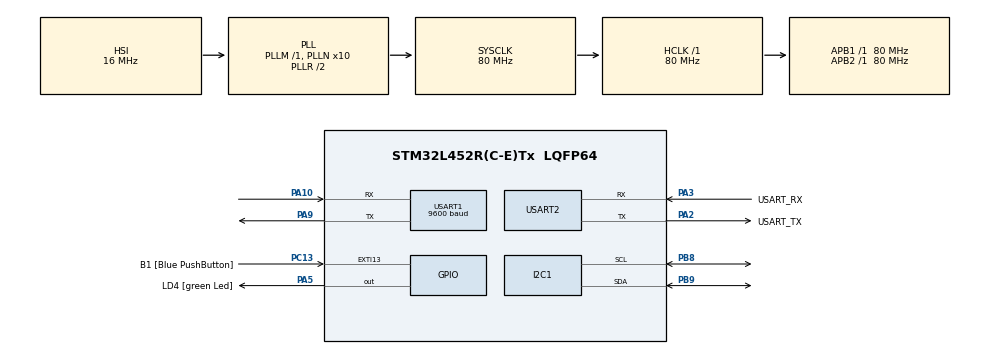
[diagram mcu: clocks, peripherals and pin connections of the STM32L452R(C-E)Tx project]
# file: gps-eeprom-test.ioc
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I2C1.Timing=0x10909CEC
Mcu.Family=STM32L4
Mcu.Name=STM32L452R(C-E)Tx
Mcu.Package=LQFP64
NVIC.PriorityGroup=NVIC_PRIORITYGROUP_4
NVIC.USART1_IRQn=true\:0\:0\:false\:false\:true\:true\:true\:true
PA10.Mode=Asynchronous
PA10.Signal=USART1_RX
PA13\ (JTMS/SWDIO).GPIO_Label=TMS
PA13\ (JTMS/SWDIO).Mode=Serial_Wire
PA13\ (JTMS/SWDIO).Signal=SYS_JTMS-SWDIO
PA14\ (JTCK/SWCLK).GPIO_Label=TCK
PA14\ (JTCK/SWCLK).Mode=Serial_Wire
PA14\ (JTCK/SWCLK).Signal=SYS_JTCK-SWCLK
PA2.GPIO_Label=USART_TX
PA2.GPIO_Mode=GPIO_MODE_AF_PP
PA2.GPIO_PuPd=GPIO_NOPULL
PA2.GPIO_Speed=GPIO_SPEED_FREQ_VERY_HIGH
PA2.Mode=Asynchronous
PA2.Signal=USART2_TX
PA3.GPIO_Label=USART_RX
PA3.GPIO_Mode=GPIO_MODE_AF_PP
PA3.GPIO_PuPd=GPIO_NOPULL
PA3.GPIO_Speed=GPIO_SPEED_FREQ_VERY_HIGH
PA3.Mode=Asynchronous
PA3.Signal=USART2_RX
PA5.GPIO_Label=LD4 [green Led]
PA5.GPIO_ModeDefaultOutputPP=GPIO_MODE_OUTPUT_PP
PA5.GPIO_PuPd=GPIO_NOPULL
PA5.GPIO_Speed=GPIO_SPEED_FREQ_LOW
PA5.Signal=GPIO_Output
PA9.Mode=Asynchronous
PA9.Signal=USART1_TX
PB3\ (JTDO/TRACESWO).GPIO_Label=SWO
PB3\ (JTDO/TRACESWO).Signal=SYS_JTDO-SWO
PB8.Mode=I2C
PB8.Signal=I2C1_SCL
PB9.Mode=I2C
PB9.Signal=I2C1_SDA
PC13.GPIO_Label=B1 [Blue PushButton]
PC13.GPIO_ModeDefaultEXTI=GPIO_MODE_IT_FALLING
PC13.GPIO_PuPd=GPIO_NOPULL
PC13.Signal=GPXTI13
PC14-OSC32_IN\ (PC14).Mode=LSE-External-Oscillator
PC14-OSC32_IN\ (PC14).Signal=RCC_OSC32_IN
PC15-OSC32_OUT\ (PC15).Mode=LSE-External-Oscillator
PC15-OSC32_OUT\ (PC15).Signal=RCC_OSC32_OUT
PH0-OSC_IN\ (PH0).Signal=RCC_OSC_IN
PH1-OSC_OUT\ (PH1).Signal=RCC_OSC_OUT
ProjectManager.HeapSize=0x200
ProjectManager.StackSize=0x400
ProjectManager.TargetToolchain=STM32CubeIDE
RCC.ADCFreq_Value=64000000
RCC.AHBFreq_Value=80000000
RCC.APB1Freq_Value=80000000
RCC.APB1TimFreq_Value=80000000
RCC.APB2Freq_Value=80000000
RCC.APB2TimFreq_Value=80000000
RCC.CortexFreq_Value=80000000
RCC.HCLKFreq_Value=80000000
RCC.HSE_VALUE=8000000
RCC.HSI48_VALUE=48000000
RCC.HSI_VALUE=16000000
RCC.MSI_VALUE=4000000
RCC.PLLN=10
RCC.PLLSourceVirtual=RCC_PLLSOURCE_HSI
RCC.PREFETCH_ENABLE=1
RCC.SYSCLKFreq_VALUE=80000000
RCC.SYSCLKSource=RCC_SYSCLKSOURCE_PLLCLK
RCC.USBFreq_Value=64000000
RCC.VCOOutputFreq_Value=160000000
USART1.BaudRate=9600
USART1.VirtualMode-Asynchronous=VM_ASYNC
USART2.VirtualMode-Asynchronous=VM_ASYNC
board=NUCLEO-L452RE

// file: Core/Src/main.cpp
/* USER CODE BEGIN Header */
/**
  ******************************************************************************
  * @file           : main.c
  * @brief          : Main program body
  ******************************************************************************
  * @attention
  *
  * Copyright (c) 2023 STMicroelectronics.
  * All rights reserved.
  *
  * This software is licensed under terms that can be found in the LICENSE file
  * in the root directory of this software component.
  * If no LICENSE file comes with this software, it is provided AS-IS.
  *
  ******************************************************************************
  * Date: Jun 23, 2023
  * Celine Kwan
  * store GPS's lat/lng to EEPROM 0x00 and 0x04 locations
  * copied from gps-eeprom-test project
  * SUCCESSFUL
  */
/* USER CODE END Header */
#include "main.h"

/* USER CODE BEGIN Includes */
#include <stdio.h>
#include <string.h>

#include <gps/NMEA.h>
#include <gps/uartRingBuffer.h>

#include <RTClib/RTClib.h>
/* USER CODE END Includes */

I2C_HandleTypeDef hi2c1;

UART_HandleTypeDef huart1;
UART_HandleTypeDef huart2;

/* USER CODE BEGIN PV */

// EEPROM ******************
#define EEPROM_ADDR 0x50 << 1

// RTC ******************
#define RTC_ADDR 0x68<<1
#define DS3231_STATUSREG 0x0F ///< Status register
#define DS3231_TIME 0x00 ///< Time register

// Data Buffers *********************************
uint8_t data_rec4[4] = {0};
uint8_t data_rec8[8] = {0};
uint8_t buf_lat[4] = {0};  // floats are 4 bytes!
uint8_t buf_lng[4] = {0};

// BNO055 *********************************
#define BNO055_ADDRESS 0x28 << 1 // 0x29 (primary), 0x28 (alternative)

// Configuration Registers
// Note: switching time from op mode to any other op mode is 7ms
#define OPR_MODE 0x3D // Operating mode register
#define AMG_MODE 0x07 // Non-fusion mode
#define NDOF_MODE 0x0C // Fusion mode

// Calibration Status Register
#define CALIB_STAT 0x35
#define SYS_MASK 0xC0
#define GYR_MASK 0x30
#define ACC_MASK 0x0C
#define MAG_MASK 0x03

// Unit Selection Register
#define UNIT_SEL 0x3B
#define DATA_FORMAT_SETTING 0x01 // windows orientation, celsius,deg,dps,mg

// Accelerometer Data Registers
#define ACC_DATA_X_LSB 0x08
#define ACC_DATA_X_MSB 0x09
#define ACC_DATA_Y_LSB 0x0A
#define ACC_DATA_Y_MSB 0x0B
#define ACC_DATA_Z_LSB 0x0C
#define ACC_DATA_Z_MSB 0x0D

// Magnetometer Data Registers
#define MAG_DATA_X_LSB 0x0E
#define MAG_DATA_X_MSB 0x0F
#define MAG_DATA_Y_LSB 0x10
#define MAG_DATA_Y_MSB 0x11
#define MAG_DATA_Z_LSB 0x12
#define MAG_DATA_Z_MSB 0x13

// Gyroscope Data Registers
#define GYR_DATA_X_LSB 0x14
#define GYR_DATA_X_MSB 0x15
#define GYR_DATA_Y_LSB 0x16
#define GYR_DATA_Y_MSB 0x17
#define GYR_DATA_Z_LSB 0x18
#define GYR_DATA_Z_MSB 0x19

// Euler Data Registers
#define EUL_DATA_X_LSB 0x1A // Heading
#define EUL_DATA_X_MSB 0x1B
#define EUL_DATA_Y_LSB 0x1C // Roll
#define EUL_DATA_Y_MSB 0x1D
#define EUL_DATA_Z_LSB 0x1E // Pitch
#define EUL_DATA_Z_MSB 0x1F

/* USER CODE END PV */

void SystemClock_Config(void);
static void MX_GPIO_Init(void);
static void MX_USART2_UART_Init(void);
static void MX_I2C1_Init(void);
static void MX_USART1_UART_Init(void);
/* USER CODE BEGIN PFP */

// GPS *********************************
char GGA[100];
char RMC[100];
GPSSTRUCT gpsData;

// BNO *********************************
uint8_t data_rec_bno[6]; // store data from i2c read
int16_t x, y, z; // store data from accel registers
char disp_buf[60] = {0}; // store data to display to UART serial port
// calibration status: 3 [fully calibrated], 0 [not calibrated]
uint8_t sys_stat = 0; // system (all sensors)
uint8_t gyr_stat = 0;
uint8_t acc_stat = 0;
uint8_t mag_stat = 0;

// Function Declarations ==========================================

// EEPROM **********************************
void eeprom_write_byte (uint16_t addr, uint8_t value);
void eeprom_write_bytes (uint16_t addr, uint8_t *buf, uint8_t numberofbytes);
void eeprom_read_bytes (uint16_t addr, uint8_t numberofbytes);
void print_status (HAL_StatusTypeDef);

// RTC **********************************
void rtc_read_reg_bytes (uint8_t, uint8_t); // 1+ bytes
uint8_t rtc_read (uint8_t); // 1 byte
void rtc_write_reg (uint8_t, uint8_t); // 1 byte
bool lostPower(void);
uint8_t bin2bcd(uint8_t);

// BNO **********************************
void bno055_write_datum (uint8_t reg, uint8_t value);
void bno055_read_data (uint8_t reg, uint8_t numberofbytes);

// Function Definitions ==========================================

// EEPROM **********************************
// writes one byte
void eeprom_write_byte (uint16_t addr, uint8_t value) {
	uint8_t data[1] = {0};
	data[0] = value;
	HAL_StatusTypeDef status = HAL_I2C_Mem_Write(&hi2c1, EEPROM_ADDR, addr, I2C_MEMADD_SIZE_16BIT, data, 1, 10);
}

// writes several bytes
void eeprom_write_bytes (uint16_t addr, uint8_t *buf, uint8_t numberofbytes) {
	for (int i=0; i<numberofbytes; i++) {
		eeprom_write_byte(addr,buf[i]);
		addr++;
	}
}

// reads a number of bytes
void eeprom_read_bytes (uint16_t addr, uint8_t numberofbytes) {
	HAL_StatusTypeDef status = HAL_I2C_Mem_Read (&hi2c1, EEPROM_ADDR, addr, I2C_MEMADD_SIZE_16BIT, data_rec4, numberofbytes, 100);
}

// RTC **********************************
// read function - for several bytes
void rtc_read_reg_bytes (uint8_t reg, uint8_t numberofbytes) {
	HAL_StatusTypeDef status = HAL_I2C_Mem_Read (&hi2c1, RTC_ADDR, reg, 1, data_rec8, numberofbytes, 100);
}

// read into a buffer
void rtc_read_buf (uint8_t* buf, uint8_t size) {
	HAL_StatusTypeDef status = HAL_I2C_Mem_Read(&hi2c1, RTC_ADDR, buf[0], 1, buf, size, 100);// reg = buf[0]
}

// read function - for one byte
uint8_t rtc_read_reg (uint8_t reg) {
	HAL_StatusTypeDef status = HAL_I2C_Mem_Read (&hi2c1, RTC_ADDR, reg, 1, data_rec8, 1, 100);
	return data_rec8[0];
}

// write function - for one byte
void rtc_write_reg (uint8_t reg, uint8_t value) {
	uint8_t data[2];
	data[0] = reg;
	data[1] = value;
	HAL_StatusTypeDef status = HAL_I2C_Master_Transmit (&hi2c1, RTC_ADDR, data, 2, 10);
}

// write function - for 8 bytes
void rtc_write_reg_bytes (uint8_t* buf, uint8_t size) {
	uint8_t data[size] = {0};

	// copy buffer data into i2c data buffer
	for (int i=0; i<size; i++) {
		data[i] = buf[i];
	}

	HAL_StatusTypeDef status = HAL_I2C_Master_Transmit (&hi2c1, RTC_ADDR, data, size, 100);
}

bool lostPower(void) {
  return rtc_read_reg(DS3231_STATUSREG)>>7; // check bit 7 of status register
}

/*
	@brief  Convert a binary value to BCD format for the RTC registers
	@param val Binary value
	@return BCD value
*/
uint8_t bin2bcd(uint8_t val) { // TODO: check bin2bcd - whether it works or not
	return val + 6 * (val / 10);
}

/*!
  @brief  Convert the day of the week to a representation suitable for
		  storing in the DS3231: from 1 (Monday) to 7 (Sunday).
  @param  d Day of the week as represented by the library:
		  from 0 (Sunday) to 6 (Saturday).
  @return the converted value
*/
static uint8_t dowToDS3231(uint8_t d) {
	return d == 0 ? 7 : d ;
}

/*
    @brief  Set the date and flip the Oscillator Stop Flag
    @param dt DateTime object containing the date/time to set
*/
void adjust(const DateTime &dt) { // TODO: create DateTime class
										// reference: https://github.com/adafruit/RTClib/blob/33fb0400c8241a5e604d0d9bd1c3a79b8a19cc4a/src/RTClib.cpp#LL202C1-L202C1
	uint8_t buffer[] = {DS3231_TIME, // register to write to (time register)
	                       bin2bcd(dt.second()), // write bin2bcd function
						   	   	   	   	   	   	   // reference: https://github.com/adafruit/RTClib/blob/33fb0400c8241a5e604d0d9bd1c3a79b8a19cc4a/src/RTClib.h#L340
	                       bin2bcd(dt.minute()),
	                       bin2bcd(dt.hour()),
	                       bin2bcd(dowToDS3231(dt.dayOfTheWeek())), // TODO: write dayOfTheWeek function inside DateTime class - https://github.com/adafruit/RTClib/blob/33fb0400c8241a5e604d0d9bd1c3a79b8a19cc4a/src/RTClib.cpp#L553
						   	   	   	   	   	   	   	   	   	   	   	   // TODO: dowToDS3231 function - https://github.com/adafruit/RTClib/blob/33fb0400c8241a5e604d0d9bd1c3a79b8a19cc4a/src/RTClib.h#L398
	                       bin2bcd(dt.day()),
	                       bin2bcd(dt.month()),
	                       bin2bcd(dt.year() - 2000U)};

	rtc_write_reg_bytes(buffer,sizeof(buffer)); //TODO: write rtc_write_reg_bytes function for several bytes
							// reference: https://github.com/adafruit/Adafruit_BusIO/blob/42e31a252f3cfd81aaa5668258d3dcb837524660/Adafruit_I2CDevice.cpp#L95
	uint8_t statreg = rtc_read_reg(DS3231_STATUSREG);
//	statreg &= ~0x80; // flip OSF bit
	statreg &= ~0x8; // flip OSF bit
	rtc_write_reg(DS3231_STATUSREG, statreg);
}

/*!
  @brief  Convert a binary coded decimal value to binary. RTC stores
time/date values as BCD.
  @param val BCD value
  @return Binary value
*/
static uint8_t bcd2bin(uint8_t val) { //TODO: check functionality
	return val - 6 * (val >> 4);
}

/*!
    @brief  Get the current date/time
    @return DateTime object with the current date/time
*/
DateTime now(void) {
  uint8_t buf1[1] = {0};
  uint8_t buf2[7] = {0};
  buf1[0] = 0; // first element it 0
  buf2[0] = 0; // first element it 0

  rtc_write_reg_bytes (buf1,sizeof(buf1));
  rtc_read_buf (buf2, sizeof(buf2));

  return DateTime(bcd2bin(buf2[6]) + 2000U, // uint16_t year
		  	  	  bcd2bin(buf2[5] & 0x7F), //uint8_t month
                  bcd2bin(buf2[4]), //uint8_t day
				  bcd2bin(buf2[2]), //uint8_t hour
				  bcd2bin(buf2[1]), //uint8_t min
                  bcd2bin(buf2[0] & 0x7F)); //uint8_t sec
}

// BNO ************************************
// I2C Functions ********************************
// writes 1 byte
void bno055_write_datum (uint8_t reg, uint8_t value) {
	uint8_t data[2];
	data[0] = reg;
	data[1] = value;
	HAL_I2C_Master_Transmit (&hi2c1, BNO055_ADDRESS, data, 2, 10);
}

// reads multiple bytes
void bno055_read_data (uint8_t reg, uint8_t numberofbytes) {

	HAL_StatusTypeDef status = HAL_I2C_Mem_Read (&hi2c1, BNO055_ADDRESS, reg, 1, data_rec_bno, numberofbytes, 100);

	// printing status
	HAL_UART_Transmit(&huart2, (uint8_t*)"\r\n bno055_read_data", sizeof("\r\n bno055_read_data"), 10);
	if (HAL_ERROR == status) {
		HAL_UART_Transmit(&huart2, (uint8_t*)"\r\n HAL_ERROR returned", sizeof("\r\n HAL_ERROR returned"), 10);
	} else if (HAL_BUSY == status){
		HAL_UART_Transmit(&huart2, (uint8_t*)"\r\n HAL_BUSY returned", sizeof("\r\n HAL_BUSY returned"), 10);
	} else if (HAL_OK == status) {
		HAL_UART_Transmit(&huart2, (uint8_t*)"\r\n HAL_OK returned", sizeof("\r\n HAL_OK returned"), 10);
	}
}

// Config Functions ********************************
void bno055_config (void) {
	bno055_write_datum(OPR_MODE,NDOF_MODE); // Set operating mode to NDOF
//	bno055_write_datum(UNIT_SEL, DATA_FORMAT_SETTING); // Set unit selection to windows orientation, celsius, deg, dps, mg
}

// Calibrate Function ********************************
void bno055_read_calibrate_status (void) {

	while ( (sys_stat!=3) || (gyr_stat!=3)|| (acc_stat!=3) || (mag_stat!=3) ) {
		bno055_read_data(CALIB_STAT,1);

		sys_stat = ( data_rec_bno[0] & SYS_MASK ) >> 6;
		gyr_stat = ( data_rec_bno[0] & GYR_MASK ) >> 4;
		acc_stat = ( data_rec_bno[0] & ACC_MASK ) >> 2;
		mag_stat = ( data_rec_bno[0] & MAG_MASK ) ;

		// Display data to UART port
		sprintf (disp_buf, "\r\n sys= %d \t gyr= %d \t acc= %d \t mag= %d", sys_stat, gyr_stat, acc_stat, mag_stat);
		HAL_UART_Transmit(&huart2,(uint8_t*)disp_buf,sizeof(disp_buf),10);
	}

	HAL_UART_Transmit(&huart2,(uint8_t*)"\r\n Calibration Complete!",sizeof("\r\n Calibration Complete!"),10);

}

// Utility functions ********************************
// prints x y z axis data of specified register
void print_EUL_data (uint8_t reg) { // changed from print_RAW_data
	  // Note: Data output rate for fusion data in NDOF mode is 100Hz (i.e. every 10ms)

	  // Clear display buffer
	  for (int i=0; i<50; i++) {
		  disp_buf[i] = NULL;
	  }

	  // Get 6 bytes of data
	  bno055_read_data(reg, 6);
	  x = (data_rec_bno[1]<<8) | data_rec_bno[0];
	  y = (data_rec_bno[3]<<8) | data_rec_bno[2];
	  z = (data_rec_bno[5]<<8) | data_rec_bno[4];

	  // Convert with 16 LSB/ 1 deg
	  x = x >> 4; // Divide by 16
	  y = y >> 4;
	  z = z >> 4;

	  // Display data to UART port
	  sprintf (disp_buf, "\r\n x[heading]= %d \t y[roll]= %d \t z[pitch]= %d", x, y, z);
	  HAL_UART_Transmit(&huart2,(uint8_t*)disp_buf,sizeof(disp_buf),10);
}

/* USER CODE END PFP */

/* USER CODE BEGIN 0 */

// EEPROM *********************************
GGASTRUCT *gga = &gpsData.ggastruct;
float lat = 0; // write to EEPROM
float lng = 0;
char lat_dir;
char lng_dir;
float lat_ret = 0; // read from EEPROM
float lng_ret = 0;

// RTC *********************************
RMCSTRUCT *rmc = &gpsData.rmcstruct;

int gps_year = 0;
int gps_month = 0;
int gps_day = 0;
int gps_hour = 0;
int gps_minutes = 0;
int gps_seconds = 0;

// Printing *********************************
char print_buf_1[20] = {0};
char print_buf_2[20] = {0};
//char print_buf_3[20] = {0};
//uint8_t counter = 0;

/* USER CODE END 0 */

int main(void)
{

  /* MCU Configuration--------------------------------------------------------*/

  /* Reset of all peripherals, Initializes the Flash interface and the Systick. */
  HAL_Init();

  /* Configure the system clock */
  SystemClock_Config();

  /* Initialize all configured peripherals */
  MX_GPIO_Init();
  MX_USART2_UART_Init();
  MX_I2C1_Init();
  MX_USART1_UART_Init();
  /* USER CODE BEGIN 2 */

	Ringbuf_init();

	uint16_t year = 0;
	uint8_t month = 0;
	uint8_t day = 0;
	uint8_t hour = 0;
	uint8_t min = 0;
	uint8_t sec = 0;

	// BNO config *********************************
	bno055_config();
	bno055_read_calibrate_status();

	// Get lat/lng and date/time value from GPS
	while ( (lat == 0 && lng == 0 ) || (gps_year == 0) ) { // Condition: lat/lng are not updated OR year not extracted

		//	 ========== GPS Ring Buffer ==================================
		if (Wait_for("GG") == 1) { // "GPGGA" - need "A" for decodeGGA to work properly
			int value_1 = Copy_upto("*", GGA); // 1=successful copy
			int value_2 = decodeGGA(GGA,&gpsData.ggastruct); // 0=fixed; 1=error
		}

		if (Wait_for("RM") == 1) { // "GPRMC" - need "C" for decodeRMC to work properly
		  int value_3 = Copy_upto("*", RMC); // 1=successful copy
		  int value_4 = decodeRMC(RMC,&gpsData.rmcstruct); // 0=fixed; 1=error
		}

		//	  ========== Extract lng/lat Data ==================================
		lat = gga->lcation.latitude;
		lng = gga->lcation.longitude;

		// Modify +/- sign of lat/lng
		lat_dir = gga->lcation.NS;
		lng_dir = gga->lcation.EW;
		if (lat_dir == 'S') lat *= -1;
		if (lng_dir == 'W') lng *= -1;

		//	  ========== Extract date & time ==================================
		gps_year = rmc->date.Yr; /*!< Years. All values are valid */
		gps_month = rmc->date.Mon; /*!< Months. Valid values : 1 (January) - 12 (December) */
		gps_day = rmc->date.Day; /*!< Days. Valid values 1 - 28,29,30,31 Depends on month.*/
		gps_hour = gga->tim.hour; /*!< Hours. Valid values 0 - 23. */
		gps_minutes = gga->tim.min; /*!< Minutes. Valid values 0 - 59. */
		gps_seconds = gga->tim.sec; /*!< Seconds. Valid values 0 - 59.99999.... */

	}

  	HAL_UART_Transmit(&huart2, (uint8_t*)"\r\n Lat/lng & date/time extraction done", sizeof("\r\n Lat/lng & date/time extraction done"), 10);

  	//	  ========== RTC Setup: Store time into RTC ==================================
	// initialization of Datetime
	year = 2000 + gps_year;
	month = gps_month;
	day = gps_day;
	hour = gps_hour;
	min = gps_minutes;
	sec = gps_seconds;

	DateTime dt (year,month,day,hour,min,sec);

	// check if there's a power loss
	if (lostPower()) {
	  HAL_UART_Transmit(&huart2, (uint8_t*)"\r\n RTC lost power, let's set the time!", sizeof("\r\n RTC lost power, let's set the time!"), 10);

	  // When time needs to be set on a new device, or after a power loss, the
	  // following line sets the RTC to the date & time this sketch was compiled
	  adjust(dt); // Sets the RTC with an explicit date & time

	} else {
	  HAL_UART_Transmit(&huart2, (uint8_t*)"\r\n RTC has power", sizeof("\r\n RTC has power"), 10);
	}

	adjust(dt);

	HAL_UART_Transmit(&huart2, (uint8_t*)"\r\n RTC Setup Done", sizeof("\r\n RTC Setup Done"), 10);

  /* USER CODE END 2 */

  /* Infinite loop */
  while (1)
  {

    /* USER CODE BEGIN 3 */

	//	  ========== EEPROM Write ==================================
	memcpy(buf_lat, (void *)&lat, 4);
	eeprom_write_bytes(0x00,buf_lat,4);
	memcpy(buf_lng, (void *)&lng, 4);
	eeprom_write_bytes(0x04,buf_lng,4);

	//	  ========== Get current time from RTC ==================================
	DateTime current = now();

	year = current.year();
	month = current.month();
	day = current.day();
	hour = current.hour();
	min = current.minute();
	sec = current.second();

	//	  ========== Print current time ==================================
	char buffer[100] = {};
	sprintf(buffer, "\r\n year: %u \r\n month: %d \r\n day: %d \r\n hour: %d \r\n min: %d \r\n sec: %d\r\n", year,month,day,hour,min,sec); // Convert the integer to a string
	HAL_UART_Transmit(&huart2, (uint8_t *)buffer, sizeof(buffer), 10); // Transmit the string via UART

	//	  ========== Read Lat/Lng from EEPROM ==================================
	// Read lat/lng
	eeprom_read_bytes (0x00, 4); // read
	memcpy((void *)&lat_ret, data_rec4, 4);
	eeprom_read_bytes (0x04, 4); // read
	memcpy((void *)&lng_ret, data_rec4, 4);

	//	  ========== Print Lat/Lng (float) ==================================
	sprintf(print_buf_1,"\r\n lat: % 4f", lat_ret);
	HAL_UART_Transmit(&huart2, (uint8_t*)print_buf_1, sizeof(print_buf_1), 10);
	sprintf(print_buf_2,"\r\n lng: % 4f", lng_ret);
	HAL_UART_Transmit(&huart2, (uint8_t*)print_buf_2, sizeof(print_buf_2), 10);

	//	  ========== Print Euler Roll/Pitch/Yaw angles ==================================
	HAL_UART_Transmit(&huart2,(uint8_t*)"\r\n Eul:********",sizeof("\r\n Eul:********"),10);
	print_EUL_data(EUL_DATA_X_LSB);
	HAL_Delay(100);

	//	  ========== Wait 1s for the time to increment per second ==================================
	HAL_Delay(1000);
  }

  /* USER CODE END 3 */
}

void SystemClock_Config(void)
{
  RCC_OscInitTypeDef RCC_OscInitStruct = {0};
  RCC_ClkInitTypeDef RCC_ClkInitStruct = {0};

  /** Configure the main internal regulator output voltage
  */
  if (HAL_PWREx_ControlVoltageScaling(PWR_REGULATOR_VOLTAGE_SCALE1) != HAL_OK)
  {
    Error_Handler();
  }

  /** Initializes the RCC Oscillators according to the specified parameters
  * in the RCC_OscInitTypeDef structure.
  */
  RCC_OscInitStruct.OscillatorType = RCC_OSCILLATORTYPE_HSI;
  RCC_OscInitStruct.HSIState = RCC_HSI_ON;
  RCC_OscInitStruct.HSICalibrationValue = RCC_HSICALIBRATION_DEFAULT;
  RCC_OscInitStruct.PLL.PLLState = RCC_PLL_ON;
  RCC_OscInitStruct.PLL.PLLSource = RCC_PLLSOURCE_HSI;
  RCC_OscInitStruct.PLL.PLLM = 1;
  RCC_OscInitStruct.PLL.PLLN = 10;
  RCC_OscInitStruct.PLL.PLLP = RCC_PLLP_DIV7;
  RCC_OscInitStruct.PLL.PLLQ = RCC_PLLQ_DIV2;
  RCC_OscInitStruct.PLL.PLLR = RCC_PLLR_DIV2;
  if (HAL_RCC_OscConfig(&RCC_OscInitStruct) != HAL_OK)
  {
    Error_Handler();
  }

  /** Initializes the CPU, AHB and APB buses clocks
  */
  RCC_ClkInitStruct.ClockType = RCC_CLOCKTYPE_HCLK|RCC_CLOCKTYPE_SYSCLK
                              |RCC_CLOCKTYPE_PCLK1|RCC_CLOCKTYPE_PCLK2;
  RCC_ClkInitStruct.SYSCLKSource = RCC_SYSCLKSOURCE_PLLCLK;
  RCC_ClkInitStruct.AHBCLKDivider = RCC_SYSCLK_DIV1;
  RCC_ClkInitStruct.APB1CLKDivider = RCC_HCLK_DIV1;
  RCC_ClkInitStruct.APB2CLKDivider = RCC_HCLK_DIV1;

  if (HAL_RCC_ClockConfig(&RCC_ClkInitStruct, FLASH_LATENCY_4) != HAL_OK)
  {
    Error_Handler();
  }
}

static void MX_I2C1_Init(void)
{

  hi2c1.Instance = I2C1;
  hi2c1.Init.Timing = 0x10909CEC;
  hi2c1.Init.OwnAddress1 = 0;
  hi2c1.Init.AddressingMode = I2C_ADDRESSINGMODE_7BIT;
  hi2c1.Init.DualAddressMode = I2C_DUALADDRESS_DISABLE;
  hi2c1.Init.OwnAddress2 = 0;
  hi2c1.Init.OwnAddress2Masks = I2C_OA2_NOMASK;
  hi2c1.Init.GeneralCallMode = I2C_GENERALCALL_DISABLE;
  hi2c1.Init.NoStretchMode = I2C_NOSTRETCH_DISABLE;
  if (HAL_I2C_Init(&hi2c1) != HAL_OK)
  {
    Error_Handler();
  }

  /** Configure Analogue filter
  */
  if (HAL_I2CEx_ConfigAnalogFilter(&hi2c1, I2C_ANALOGFILTER_ENABLE) != HAL_OK)
  {
    Error_Handler();
  }

  /** Configure Digital filter
  */
  if (HAL_I2CEx_ConfigDigitalFilter(&hi2c1, 0) != HAL_OK)
  {
    Error_Handler();
  }

}

static void MX_USART1_UART_Init(void)
{

  huart1.Instance = USART1;
  huart1.Init.BaudRate = 9600;
  huart1.Init.WordLength = UART_WORDLENGTH_8B;
  huart1.Init.StopBits = UART_STOPBITS_1;
  huart1.Init.Parity = UART_PARITY_NONE;
  huart1.Init.Mode = UART_MODE_TX_RX;
  huart1.Init.HwFlowCtl = UART_HWCONTROL_NONE;
  huart1.Init.OverSampling = UART_OVERSAMPLING_16;
  huart1.Init.OneBitSampling = UART_ONE_BIT_SAMPLE_DISABLE;
  huart1.AdvancedInit.AdvFeatureInit = UART_ADVFEATURE_NO_INIT;
  if (HAL_UART_Init(&huart1) != HAL_OK)
  {
    Error_Handler();
  }

}

static void MX_USART2_UART_Init(void)
{

  huart2.Instance = USART2;
  huart2.Init.BaudRate = 115200;
  huart2.Init.WordLength = UART_WORDLENGTH_8B;
  huart2.Init.StopBits = UART_STOPBITS_1;
  huart2.Init.Parity = UART_PARITY_NONE;
  huart2.Init.Mode = UART_MODE_TX_RX;
  huart2.Init.HwFlowCtl = UART_HWCONTROL_NONE;
  huart2.Init.OverSampling = UART_OVERSAMPLING_16;
  huart2.Init.OneBitSampling = UART_ONE_BIT_SAMPLE_DISABLE;
  huart2.AdvancedInit.AdvFeatureInit = UART_ADVFEATURE_NO_INIT;
  if (HAL_UART_Init(&huart2) != HAL_OK)
  {
    Error_Handler();
  }

}

static void MX_GPIO_Init(void)
{
  GPIO_InitTypeDef GPIO_InitStruct = {0};

  /* GPIO Ports Clock Enable */
  __HAL_RCC_GPIOC_CLK_ENABLE();
  __HAL_RCC_GPIOH_CLK_ENABLE();
  __HAL_RCC_GPIOA_CLK_ENABLE();
  __HAL_RCC_GPIOB_CLK_ENABLE();

  /*Configure GPIO pin Output Level */
  HAL_GPIO_WritePin(LD4_GPIO_Port, LD4_Pin, GPIO_PIN_RESET);

  /*Configure GPIO pin : B1_Pin */
  GPIO_InitStruct.Pin = B1_Pin;
  GPIO_InitStruct.Mode = GPIO_MODE_IT_FALLING;
  GPIO_InitStruct.Pull = GPIO_NOPULL;
  HAL_GPIO_Init(B1_GPIO_Port, &GPIO_InitStruct);

  /*Configure GPIO pin : LD4_Pin */
  GPIO_InitStruct.Pin = LD4_Pin;
  GPIO_InitStruct.Mode = GPIO_MODE_OUTPUT_PP;
  GPIO_InitStruct.Pull = GPIO_NOPULL;
  GPIO_InitStruct.Speed = GPIO_SPEED_FREQ_LOW;
  HAL_GPIO_Init(LD4_GPIO_Port, &GPIO_InitStruct);

}

void Error_Handler(void)
{
  __disable_irq();
  while (1)
  {
  }
}
